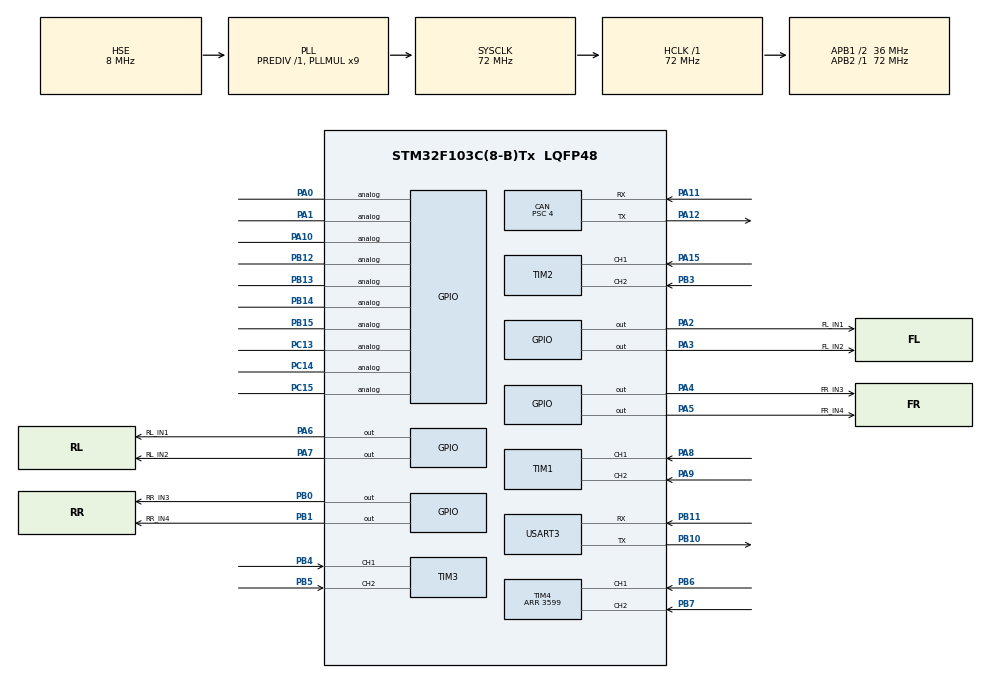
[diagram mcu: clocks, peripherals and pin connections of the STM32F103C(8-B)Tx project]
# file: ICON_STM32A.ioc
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CAN.BS1=CAN_BS1_15TQ
CAN.BS2=CAN_BS2_2TQ
CAN.CalculateBaudRate=500000
CAN.CalculateTimeBit=2000
CAN.CalculateTimeQuantum=111.11111111111111
CAN.Prescaler=4
Mcu.Family=STM32F1
Mcu.Name=STM32F103C(8-B)Tx
Mcu.Package=LQFP48
NVIC.PriorityGroup=NVIC_PRIORITYGROUP_4
PA0-WKUP.Signal=GPIO_Analog
PA1.Signal=GPIO_Analog
PA10.Signal=GPIO_Analog
PA11.Mode=CAN_Activate
PA11.Signal=CAN_RX
PA12.Mode=CAN_Activate
PA12.Signal=CAN_TX
PA13.Mode=Serial_Wire
PA13.Signal=SYS_JTMS-SWDIO
PA14.Mode=Serial_Wire
PA14.Signal=SYS_JTCK-SWCLK
PA15.Signal=S_TIM2_CH1_ETR
PA2.GPIO_Label=FL_IN1
PA2.Signal=GPIO_Output
PA3.GPIO_Label=FL_IN2
PA3.Signal=GPIO_Output
PA4.GPIO_Label=FR_IN3
PA4.Signal=GPIO_Output
PA5.GPIO_Label=FR_IN4
PA5.Signal=GPIO_Output
PA6.GPIO_Label=RL_IN1
PA6.Signal=GPIO_Output
PA7.GPIO_Label=RL_IN2
PA7.Signal=GPIO_Output
PA8.Signal=S_TIM1_CH1
PA9.Signal=S_TIM1_CH2
PB0.GPIO_Label=RR_IN3
PB0.Signal=GPIO_Output
PB1.GPIO_Label=RR_IN4
PB1.Signal=GPIO_Output
PB10.Mode=Asynchronous
PB10.Signal=USART3_TX
PB11.Mode=Asynchronous
PB11.Signal=USART3_RX
PB12.Signal=GPIO_Analog
PB13.Signal=GPIO_Analog
PB14.Signal=GPIO_Analog
PB15.Signal=GPIO_Analog
PB3.Signal=S_TIM2_CH2
PB4.Signal=S_TIM3_CH1
PB5.Signal=S_TIM3_CH2
PB6.Signal=S_TIM4_CH1
PB7.Signal=S_TIM4_CH2
PB8.Signal=S_TIM4_CH3
PB9.Signal=S_TIM4_CH4
PC13-TAMPER-RTC.Signal=GPIO_Analog
PC14-OSC32_IN.Signal=GPIO_Analog
PC15-OSC32_OUT.Signal=GPIO_Analog
PD0-OSC_IN.Mode=HSE-External-Oscillator
PD0-OSC_IN.Signal=RCC_OSC_IN
PD1-OSC_OUT.Mode=HSE-External-Oscillator
PD1-OSC_OUT.Signal=RCC_OSC_OUT
ProjectManager.HeapSize=0x200
ProjectManager.StackSize=0x400
ProjectManager.TargetToolchain=STM32CubeIDE
RCC.AHBFreq_Value=72000000
RCC.APB1CLKDivider=RCC_HCLK_DIV2
RCC.APB1Freq_Value=36000000
RCC.APB1TimFreq_Value=72000000
RCC.APB2Freq_Value=72000000
RCC.APB2TimFreq_Value=72000000
RCC.HCLKFreq_Value=72000000
RCC.PLLMUL=RCC_PLL_MUL9
RCC.PLLSourceVirtual=RCC_PLLSOURCE_HSE
RCC.SYSCLKFreq_VALUE=72000000
RCC.SYSCLKSource=RCC_SYSCLKSOURCE_PLLCLK
RCC.USBFreq_Value=72000000
SH.S_TIM1_CH1.0=TIM1_CH1,Encoder_Interface
SH.S_TIM1_CH2.0=TIM1_CH2,Encoder_Interface
SH.S_TIM2_CH1_ETR.0=TIM2_CH1,Encoder_Interface
SH.S_TIM2_CH2.0=TIM2_CH2,Encoder_Interface
SH.S_TIM3_CH1.0=TIM3_CH1,Encoder_Interface
SH.S_TIM3_CH2.0=TIM3_CH2,Encoder_Interface
SH.S_TIM4_CH1.0=TIM4_CH1,Encoder_Interface
SH.S_TIM4_CH2.0=TIM4_CH2,Encoder_Interface
SH.S_TIM4_CH3.0=TIM4_CH3
SH.S_TIM4_CH4.0=TIM4_CH4
TIM1.EncoderMode=TIM_ENCODERMODE_TI12
TIM2.EncoderMode=TIM_ENCODERMODE_TI12
TIM3.EncoderMode=TIM_ENCODERMODE_TI12
TIM4.EncoderMode=TIM_ENCODERMODE_TI12
TIM4.Period=3599
USART3.VirtualMode=VM_ASYNC
board=custom

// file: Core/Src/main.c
/* USER CODE BEGIN Header */
/**
  ******************************************************************************
  * @file           : main.c
  * @brief          : ICON STM32-A (U1) — 모터/엔코더/CAN 송신
  ******************************************************************************
  */
/* USER CODE END Header */

#include "main.h"

/* USER CODE BEGIN Includes */
#include <stdio.h>
#include <string.h>
/* USER CODE END Includes */

TIM_HandleTypeDef htim1;
TIM_HandleTypeDef htim2;
TIM_HandleTypeDef htim3;
TIM_HandleTypeDef htim4;
CAN_HandleTypeDef hcan;
UART_HandleTypeDef huart3;

/* USER CODE BEGIN PV */

// ── 엔코더 카운터 (현재값 / 이전값) ──────────────────────────
int32_t enc_fl = 0,  enc_fl_prev = 0;
int32_t enc_fr = 0,  enc_fr_prev = 0;

// ── RPM (실제 2개 + 가상 2개) ────────────────────────────────
float rpm_fl = 0.0f;   // 전륜좌 (실제)
float rpm_fr = 0.0f;   // 전륜우 (실제)
float rpm_rl = 0.0f;   // 후륜좌 (가상 = FL 복사)
float rpm_rr = 0.0f;   // 후륜우 (가상 = FR 복사)

// ── CAN 송신 관련 ─────────────────────────────────────────────
CAN_TxHeaderTypeDef can_tx_header;
uint8_t can_tx_data[8];
uint32_t can_tx_mailbox;

/* USER CODE END PV */

void SystemClock_Config(void);
static void MX_GPIO_Init(void);
static void MX_TIM1_Init(void);
static void MX_TIM2_Init(void);
static void MX_TIM3_Init(void);
static void MX_TIM4_Init(void);
static void MX_CAN_Init(void);
static void MX_USART3_UART_Init(void);

/* USER CODE BEGIN 0 */

// RPM 계산 함수 (오버플로우 처리 포함)
float Calc_RPM(int32_t current, int32_t *prev)
{
    int32_t delta = current - *prev;

    // 오버플로우 처리 (카운터 0~65535 범위)
    if (delta > 32767)  delta -= 65536;
    if (delta < -32768) delta += 65536;

    *prev = current;

    // RPM = (delta / 1496펄스) × (60초 / 0.1초)
    return ((float)delta / 1496.0f) * 600.0f;
}

// CAN 송신 함수
// 4개 RPM을 8바이트에 압축해서 ID 0x100으로 송신
void CAN_Send_RPM(void)
{
    // RPM을 int16_t로 변환 (2바이트씩, 소수점 제거)
    int16_t fl = (int16_t)rpm_fl;
    int16_t fr = (int16_t)rpm_fr;
    int16_t rl = (int16_t)rpm_rl;
    int16_t rr = (int16_t)rpm_rr;

    // 8바이트 데이터 패킹
    // [0~1]: FL RPM
    // [2~3]: FR RPM
    // [4~5]: RL RPM
    // [6~7]: RR RPM
    can_tx_data[0] = (fl >> 8) & 0xFF;  // FL 상위 바이트
    can_tx_data[1] =  fl       & 0xFF;  // FL 하위 바이트
    can_tx_data[2] = (fr >> 8) & 0xFF;
    can_tx_data[3] =  fr       & 0xFF;
    can_tx_data[4] = (rl >> 8) & 0xFF;
    can_tx_data[5] =  rl       & 0xFF;
    can_tx_data[6] = (rr >> 8) & 0xFF;
    can_tx_data[7] =  rr       & 0xFF;

    // 송신
    HAL_CAN_AddTxMessage(&hcan, &can_tx_header,
                          can_tx_data, &can_tx_mailbox);
}

/* USER CODE END 0 */

int main(void)
{

    HAL_Init();

    SystemClock_Config();

    /* USER CODE BEGIN SysInit */
    __HAL_AFIO_REMAP_SWJ_NOJTAG();
    __HAL_AFIO_REMAP_TIM2_PARTIAL_1();
    __HAL_AFIO_REMAP_TIM3_PARTIAL();
    /* USER CODE END SysInit */

    MX_GPIO_Init();
    MX_TIM1_Init();
    MX_TIM2_Init();
    MX_TIM3_Init();
    MX_TIM4_Init();
    MX_CAN_Init();
    MX_USART3_UART_Init();

    /* USER CODE BEGIN 2 */

    // 엔코더 타이머 시작
    HAL_TIM_Encoder_Start(&htim1, TIM_CHANNEL_ALL);
    HAL_TIM_Encoder_Start(&htim2, TIM_CHANNEL_ALL);
    HAL_TIM_Encoder_Start(&htim3, TIM_CHANNEL_ALL);
    HAL_TIM_Encoder_Start(&htim4, TIM_CHANNEL_ALL);

    // PWM 시작
    HAL_TIM_PWM_Start(&htim4, TIM_CHANNEL_3);
    HAL_TIM_PWM_Start(&htim4, TIM_CHANNEL_4);

    // FL 모터 앞으로 50%
    HAL_GPIO_WritePin(GPIOA, FL_IN1_Pin, GPIO_PIN_SET);
    HAL_GPIO_WritePin(GPIOA, FL_IN2_Pin, GPIO_PIN_RESET);
    __HAL_TIM_SET_COMPARE(&htim4, TIM_CHANNEL_3, 3600);

    // FR 모터 앞으로 50%
    HAL_GPIO_WritePin(GPIOA, FR_IN3_Pin, GPIO_PIN_SET);
    HAL_GPIO_WritePin(GPIOA, FR_IN4_Pin, GPIO_PIN_RESET);
    __HAL_TIM_SET_COMPARE(&htim4, TIM_CHANNEL_4, 3600);

    // CAN 헤더 설정 (한 번만 설정)
    can_tx_header.StdId = 0x100;        // CAN ID
    can_tx_header.ExtId = 0;
    can_tx_header.RTR = CAN_RTR_DATA;   // 데이터 프레임
    can_tx_header.IDE = CAN_ID_STD;     // 표준 ID
    can_tx_header.DLC = 8;              // 데이터 길이 8바이트
    can_tx_header.TransmitGlobalTime = DISABLE;

    // CAN 시작
    HAL_CAN_Start(&hcan);

    /* USER CODE END 2 */

    while (1)
    {

    /* USER CODE BEGIN 3 */

        // 엔코더 읽기
        enc_fl = (int32_t)__HAL_TIM_GET_COUNTER(&htim1);
        enc_fr = (int32_t)__HAL_TIM_GET_COUNTER(&htim2);

        // 실제 RPM 계산
        rpm_fl = Calc_RPM(enc_fl, &enc_fl_prev);
        rpm_fr = Calc_RPM(enc_fr, &enc_fr_prev);

        // 가상 RPM (실제 하드웨어 없으므로 FL/FR 복사)
        rpm_rl = rpm_fl;
        rpm_rr = rpm_fr;

        // CAN 송신 (4개 RPM → 0x100)
        CAN_Send_RPM();

        // 디버그 출력
        printf("FL:%.1f FR:%.1f RL:%.1f RR:%.1f\r\n",
                rpm_fl, rpm_fr, rpm_rl, rpm_rr);

        HAL_Delay(100);

    /* USER CODE END 3 */
    }
}

void SystemClock_Config(void)
{
    RCC_OscInitTypeDef RCC_OscInitStruct = {0};
    RCC_ClkInitTypeDef RCC_ClkInitStruct = {0};

    RCC_OscInitStruct.OscillatorType = RCC_OSCILLATORTYPE_HSE;
    RCC_OscInitStruct.HSEState = RCC_HSE_ON;
    RCC_OscInitStruct.HSEPredivValue = RCC_HSE_PREDIV_DIV1;
    RCC_OscInitStruct.HSIState = RCC_HSI_ON;
    RCC_OscInitStruct.PLL.PLLState = RCC_PLL_ON;
    RCC_OscInitStruct.PLL.PLLSource = RCC_PLLSOURCE_HSE;
    RCC_OscInitStruct.PLL.PLLMUL = RCC_PLL_MUL9;
    if (HAL_RCC_OscConfig(&RCC_OscInitStruct) != HAL_OK) { Error_Handler(); }

    RCC_ClkInitStruct.ClockType = RCC_CLOCKTYPE_HCLK | RCC_CLOCKTYPE_SYSCLK
                                 | RCC_CLOCKTYPE_PCLK1 | RCC_CLOCKTYPE_PCLK2;
    RCC_ClkInitStruct.SYSCLKSource = RCC_SYSCLKSOURCE_PLLCLK;
    RCC_ClkInitStruct.AHBCLKDivider = RCC_SYSCLK_DIV1;
    RCC_ClkInitStruct.APB1CLKDivider = RCC_HCLK_DIV2;
    RCC_ClkInitStruct.APB2CLKDivider = RCC_HCLK_DIV1;
    if (HAL_RCC_ClockConfig(&RCC_ClkInitStruct, FLASH_LATENCY_2) != HAL_OK) { Error_Handler(); }
}

static void MX_CAN_Init(void)
{

    hcan.Instance = CAN1;
    hcan.Init.Prescaler = 4;
    hcan.Init.Mode = CAN_MODE_NORMAL;
    hcan.Init.SyncJumpWidth = CAN_SJW_1TQ;
    hcan.Init.TimeSeg1 = CAN_BS1_15TQ;
    hcan.Init.TimeSeg2 = CAN_BS2_2TQ;
    hcan.Init.TimeTriggeredMode = DISABLE;
    hcan.Init.AutoBusOff = DISABLE;
    hcan.Init.AutoWakeUp = DISABLE;
    hcan.Init.AutoRetransmission = ENABLE;
    hcan.Init.ReceiveFifoLocked = DISABLE;
    hcan.Init.TransmitFifoPriority = DISABLE;
    if (HAL_CAN_Init(&hcan) != HAL_OK) { Error_Handler(); }

}

static void MX_TIM1_Init(void)
{

    TIM_Encoder_InitTypeDef sConfig = {0};
    TIM_MasterConfigTypeDef sMasterConfig = {0};

    htim1.Instance = TIM1;
    htim1.Init.Prescaler = 0;
    htim1.Init.CounterMode = TIM_COUNTERMODE_UP;
    htim1.Init.Period = 65535;
    htim1.Init.ClockDivision = TIM_CLOCKDIVISION_DIV1;
    htim1.Init.RepetitionCounter = 0;
    htim1.Init.AutoReloadPreload = TIM_AUTORELOAD_PRELOAD_DISABLE;
    sConfig.EncoderMode = TIM_ENCODERMODE_TI12;
    sConfig.IC1Polarity = TIM_ICPOLARITY_RISING;
    sConfig.IC1Selection = TIM_ICSELECTION_DIRECTTI;
    sConfig.IC1Prescaler = TIM_ICPSC_DIV1;
    sConfig.IC1Filter = 0;
    sConfig.IC2Polarity = TIM_ICPOLARITY_RISING;
    sConfig.IC2Selection = TIM_ICSELECTION_DIRECTTI;
    sConfig.IC2Prescaler = TIM_ICPSC_DIV1;
    sConfig.IC2Filter = 0;
    if (HAL_TIM_Encoder_Init(&htim1, &sConfig) != HAL_OK) { Error_Handler(); }
    sMasterConfig.MasterOutputTrigger = TIM_TRGO_RESET;
    sMasterConfig.MasterSlaveMode = TIM_MASTERSLAVEMODE_DISABLE;
    if (HAL_TIMEx_MasterConfigSynchronization(&htim1, &sMasterConfig) != HAL_OK) { Error_Handler(); }

}

static void MX_TIM2_Init(void)
{

    TIM_Encoder_InitTypeDef sConfig = {0};
    TIM_MasterConfigTypeDef sMasterConfig = {0};

    htim2.Instance = TIM2;
    htim2.Init.Prescaler = 0;
    htim2.Init.CounterMode = TIM_COUNTERMODE_UP;
    htim2.Init.Period = 65535;
    htim2.Init.ClockDivision = TIM_CLOCKDIVISION_DIV1;
    htim2.Init.AutoReloadPreload = TIM_AUTORELOAD_PRELOAD_DISABLE;
    sConfig.EncoderMode = TIM_ENCODERMODE_TI12;
    sConfig.IC1Polarity = TIM_ICPOLARITY_RISING;
    sConfig.IC1Selection = TIM_ICSELECTION_DIRECTTI;
    sConfig.IC1Prescaler = TIM_ICPSC_DIV1;
    sConfig.IC1Filter = 0;
    sConfig.IC2Polarity = TIM_ICPOLARITY_RISING;
    sConfig.IC2Selection = TIM_ICSELECTION_DIRECTTI;
    sConfig.IC2Prescaler = TIM_ICPSC_DIV1;
    sConfig.IC2Filter = 0;
    if (HAL_TIM_Encoder_Init(&htim2, &sConfig) != HAL_OK) { Error_Handler(); }
    sMasterConfig.MasterOutputTrigger = TIM_TRGO_RESET;
    sMasterConfig.MasterSlaveMode = TIM_MASTERSLAVEMODE_DISABLE;
    if (HAL_TIMEx_MasterConfigSynchronization(&htim2, &sMasterConfig) != HAL_OK) { Error_Handler(); }

}

static void MX_TIM3_Init(void)
{

    TIM_Encoder_InitTypeDef sConfig = {0};
    TIM_MasterConfigTypeDef sMasterConfig = {0};

    htim3.Instance = TIM3;
    htim3.Init.Prescaler = 0;
    htim3.Init.CounterMode = TIM_COUNTERMODE_UP;
    htim3.Init.Period = 65535;
    htim3.Init.ClockDivision = TIM_CLOCKDIVISION_DIV1;
    htim3.Init.AutoReloadPreload = TIM_AUTORELOAD_PRELOAD_DISABLE;
    sConfig.EncoderMode = TIM_ENCODERMODE_TI12;
    sConfig.IC1Polarity = TIM_ICPOLARITY_RISING;
    sConfig.IC1Selection = TIM_ICSELECTION_DIRECTTI;
    sConfig.IC1Prescaler = TIM_ICPSC_DIV1;
    sConfig.IC1Filter = 0;
    sConfig.IC2Polarity = TIM_ICPOLARITY_RISING;
    sConfig.IC2Selection = TIM_ICSELECTION_DIRECTTI;
    sConfig.IC2Prescaler = TIM_ICPSC_DIV1;
    sConfig.IC2Filter = 0;
    if (HAL_TIM_Encoder_Init(&htim3, &sConfig) != HAL_OK) { Error_Handler(); }
    sMasterConfig.MasterOutputTrigger = TIM_TRGO_RESET;
    sMasterConfig.MasterSlaveMode = TIM_MASTERSLAVEMODE_DISABLE;
    if (HAL_TIMEx_MasterConfigSynchronization(&htim3, &sMasterConfig) != HAL_OK) { Error_Handler(); }

}

static void MX_TIM4_Init(void)
{

    TIM_Encoder_InitTypeDef sConfig = {0};
    TIM_MasterConfigTypeDef sMasterConfig = {0};
    TIM_OC_InitTypeDef sConfigOC = {0};

    htim4.Instance = TIM4;
    htim4.Init.Prescaler = 0;
    htim4.Init.CounterMode = TIM_COUNTERMODE_UP;
    htim4.Init.Period = 3599;
    htim4.Init.ClockDivision = TIM_CLOCKDIVISION_DIV1;
    htim4.Init.AutoReloadPreload = TIM_AUTORELOAD_PRELOAD_DISABLE;
    sConfig.EncoderMode = TIM_ENCODERMODE_TI12;
    sConfig.IC1Polarity = TIM_ICPOLARITY_RISING;
    sConfig.IC1Selection = TIM_ICSELECTION_DIRECTTI;
    sConfig.IC1Prescaler = TIM_ICPSC_DIV1;
    sConfig.IC1Filter = 0;
    sConfig.IC2Polarity = TIM_ICPOLARITY_RISING;
    sConfig.IC2Selection = TIM_ICSELECTION_DIRECTTI;
    sConfig.IC2Prescaler = TIM_ICPSC_DIV1;
    sConfig.IC2Filter = 0;
    if (HAL_TIM_Encoder_Init(&htim4, &sConfig) != HAL_OK) { Error_Handler(); }
    sMasterConfig.MasterOutputTrigger = TIM_TRGO_RESET;
    sMasterConfig.MasterSlaveMode = TIM_MASTERSLAVEMODE_DISABLE;
    if (HAL_TIMEx_MasterConfigSynchronization(&htim4, &sMasterConfig) != HAL_OK) { Error_Handler(); }
    sConfigOC.OCMode = TIM_OCMODE_PWM1;
    sConfigOC.Pulse = 0;
    sConfigOC.OCPolarity = TIM_OCPOLARITY_HIGH;
    sConfigOC.OCFastMode = TIM_OCFAST_DISABLE;
    if (HAL_TIM_PWM_ConfigChannel(&htim4, &sConfigOC, TIM_CHANNEL_3) != HAL_OK) { Error_Handler(); }
    if (HAL_TIM_PWM_ConfigChannel(&htim4, &sConfigOC, TIM_CHANNEL_4) != HAL_OK) { Error_Handler(); }

}

static void MX_USART3_UART_Init(void)
{

    huart3.Instance = USART3;
    huart3.Init.BaudRate = 115200;
    huart3.Init.WordLength = UART_WORDLENGTH_8B;
    huart3.Init.StopBits = UART_STOPBITS_1;
    huart3.Init.Parity = UART_PARITY_NONE;
    huart3.Init.Mode = UART_MODE_TX_RX;
    huart3.Init.HwFlowCtl = UART_HWCONTROL_NONE;
    huart3.Init.OverSampling = UART_OVERSAMPLING_16;
    if (HAL_UART_Init(&huart3) != HAL_OK) { Error_Handler(); }

}

static void MX_GPIO_Init(void)
{
    GPIO_InitTypeDef GPIO_InitStruct = {0};

    __HAL_RCC_GPIOC_CLK_ENABLE();
    __HAL_RCC_GPIOA_CLK_ENABLE();
    __HAL_RCC_GPIOB_CLK_ENABLE();

    HAL_GPIO_WritePin(GPIOA, FL_IN1_Pin | FL_IN2_Pin | FR_IN3_Pin | FR_IN4_Pin
                            | RL_IN1_Pin | RL_IN2_Pin, GPIO_PIN_RESET);
    HAL_GPIO_WritePin(GPIOB, RR_IN3_Pin | RR_IN4_Pin, GPIO_PIN_RESET);

    GPIO_InitStruct.Pin = GPIO_PIN_13 | GPIO_PIN_14 | GPIO_PIN_15;
    GPIO_InitStruct.Mode = GPIO_MODE_ANALOG;
    HAL_GPIO_Init(GPIOC, &GPIO_InitStruct);

    GPIO_InitStruct.Pin = GPIO_PIN_0 | GPIO_PIN_1 | GPIO_PIN_10;
    GPIO_InitStruct.Mode = GPIO_MODE_ANALOG;
    HAL_GPIO_Init(GPIOA, &GPIO_InitStruct);

    GPIO_InitStruct.Pin = FL_IN1_Pin | FL_IN2_Pin | FR_IN3_Pin | FR_IN4_Pin
                         | RL_IN1_Pin | RL_IN2_Pin;
    GPIO_InitStruct.Mode = GPIO_MODE_OUTPUT_PP;
    GPIO_InitStruct.Pull = GPIO_NOPULL;
    GPIO_InitStruct.Speed = GPIO_SPEED_FREQ_LOW;
    HAL_GPIO_Init(GPIOA, &GPIO_InitStruct);

    GPIO_InitStruct.Pin = RR_IN3_Pin | RR_IN4_Pin;
    GPIO_InitStruct.Mode = GPIO_MODE_OUTPUT_PP;
    GPIO_InitStruct.Pull = GPIO_NOPULL;
    GPIO_InitStruct.Speed = GPIO_SPEED_FREQ_LOW;
    HAL_GPIO_Init(GPIOB, &GPIO_InitStruct);

    GPIO_InitStruct.Pin = GPIO_PIN_12 | GPIO_PIN_13 | GPIO_PIN_14 | GPIO_PIN_15;
    GPIO_InitStruct.Mode = GPIO_MODE_ANALOG;
    HAL_GPIO_Init(GPIOB, &GPIO_InitStruct);

}

/* USER CODE BEGIN 4 */
int __io_putchar(int ch)
{
    HAL_UART_Transmit(&huart3, (uint8_t*)&ch, 1, HAL_MAX_DELAY);
    return ch;
}
/* USER CODE END 4 */

void Error_Handler(void)
{
    __disable_irq();
    while (1) {}
}
